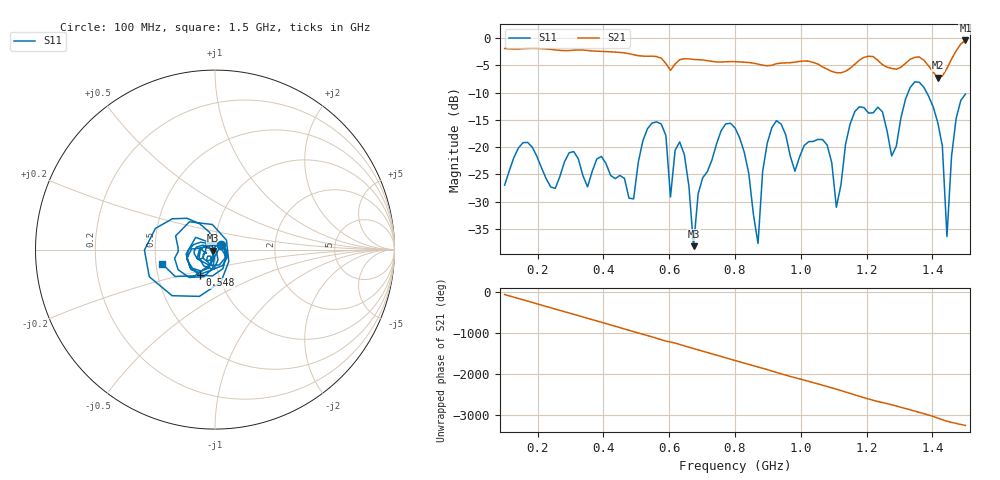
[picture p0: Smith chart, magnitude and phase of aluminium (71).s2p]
! NanoVNA-App
! Date: 2025-09-26 09:58:37
! Start: 100MHz Stop: 1,5GHz Points: 101
! S-Parameter data: F S11 S21 S12 S22
# Hz S RI R 50
!  Frequency  S11_Real  S11_Imag  S21_Real  S21_Imag  S12_Real  S12_Imag  S22_Real  S22_Imag
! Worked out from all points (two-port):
!   101 points, 100 MHz to 1.5 GHz, reference 50 ohm
!   highest |S21| = -0.44 dB at 1.5 GHz (marker M1); lowest = -7.3 dB at 1.416 GHz (marker M2)
!   |S21| within 3 dB of the highest: start of sweep to 564.2 MHz; 1.462 GHz to end of sweep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
!   lowest |S11| = -38.2 dB at 674 MHz (marker M3), VSWR 1.03, Z = 49 - j0.669 ohm
!   |S11| at or under -10 dB: start of sweep to 1.326 GHz; 1.382 GHz to end of sweep
!   S12 and S22 are empty: the file has one direction only
!   S11 on the Smith chart (normalised r, x): 100 MHz: 1.07, +0.06; 548 MHz: 0.81, -0.24; 1.5 GHz: 0.54, -0.09
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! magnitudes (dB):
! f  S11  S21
! 100 MHz  -27.0  -1.9
! 156 MHz  -19.2  -2.0
! 338 MHz  -25.2  -2.2
! 492 MHz  -29.5  -3.1
! 548 MHz  -15.6  -3.3
! 576 MHz  -15.8  -3.7
! 604 MHz  -29.1  -5.9
! 646 MHz  -21.4  -3.8
! 674 MHz  -38.2  -3.9
! 702 MHz  -25.6  -4.0
! 800 MHz  -16.5  -4.3
! 870 MHz  -37.7  -4.8
! 912 MHz  -16.4  -5.0
! 1.038 GHz  -19.0  -4.5
! 1.108 GHz  -31.0  -6.4
! 1.178 GHz  -12.6  -4.0
! 1.276 GHz  -21.6  -5.6
! 1.346 GHz  -8.0  -3.5
! 1.416 GHz  -15.5  -7.3
! 1.444 GHz  -36.4  -5.6
! 1.472 GHz  -14.7  -2.3
! 1.5 GHz  -10.3  -0.4
